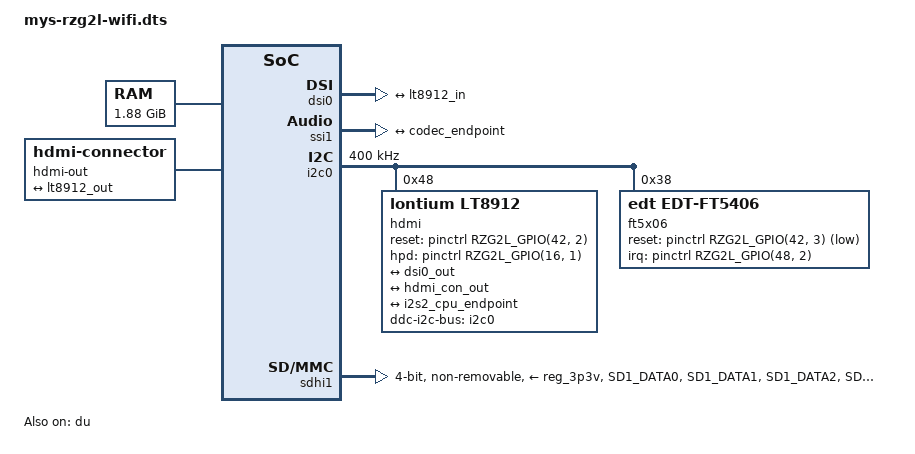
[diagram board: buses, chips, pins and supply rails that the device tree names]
// SPDX-License-Identifier: GPL-2.0
/*
 * Device Tree Source for the RZG2L Dual A55 Evaluation board
 *
 * Copyright (C) 2022 MYiR Electronics Corp.
 */

/dts-v1/;
#include "mys-rzg2l-smarc-base.dtsi"

/ {

	memory@48000000 {
		device_type = "memory";
		/* first 128MB is reserved for secure area. */
		reg = <0x0 0x48000000 0x0 0x78000000>;
	};

	reserved-memory {
		#address-cells = <2>;
		#size-cells = <2>;
		ranges;

		global_cma: linux,cma@58000000 {
			compatible = "shared-dma-pool";
			linux,cma-default;
			reusable;
			reg = <0x0 0x58000000 0x0 0x10000000>;
		};
		mmp_reserved: linux,multimedia {
			compatible = "shared-dma-pool";
			reusable;
			reg = <0x00000000 0x68000000 0x0 0x8000000>;
		};
	};

	mmngr {
		compatible = "renesas,mmngr";
		memory-region = <&mmp_reserved>;
	};

	mmngrbuf {
		compatible = "renesas,mmngrbuf";
	};

	vspm_if {
			compatible = "renesas,vspm_if";
	};

	sound_card {
			compatible = "audio-graph-card";
			//compatible = "simple-audio-card";
			dais = <&i2s2_port0>;
	};


    hdmi-out {
            compatible = "hdmi-connector";
            type = "d";

            port {
                    hdmi_con_out: endpoint {
                            remote-endpoint = <&lt8912_out>;
                    };
            };
    };
};

&pinctrl {

	sdhi1_pins: sd1 {
		sd1_data {
			pins = "SD1_DATA0", "SD1_DATA1", "SD1_DATA2", "SD1_DATA3";
			power-source  = <3300>;
		};

		sd1_ctrl {
			pins = "SD1_CLK", "SD1_CMD";
			power-source  = <3300>;
		};
		// sd1_mux {
		// 	groups = "sdhi1_cd_b";
		// 	function = "sdhi1";
		// };
	};

	sdhi1_pins_uhs: sd1_uhs {
		sd1_data_uhs {
			pins = "SD1_DATA0", "SD1_DATA1", "SD1_DATA2", "SD1_DATA3";
			power-source  = <1800>;
		};

		sd1_ctrl_uhs {
			pins = "SD1_CLK", "SD1_CMD";
			power-source  = <1800>;
		};
		// sd1_mux {
		// 	groups = "sdhi1_cd_b";
		// 	function = "sdhi1";
		// };

	};

        ssi1_pins: ssi1 {
                pinmux = <RZG2L_PORT_PINMUX(46, 0, 1)>, /* BCK */
                         <RZG2L_PORT_PINMUX(46, 1, 1)>, /* RCK */
                         <RZG2L_PORT_PINMUX(46, 2, 1)>; /* TXD */
        };

};

&ehci0 {
	memory-region = <&global_cma>;
};

&ohci0 {
	memory-region = <&global_cma>;
};

&ehci1 {
	memory-region = <&global_cma>;
};

&ohci1 {
	memory-region = <&global_cma>;
};

&du {
    status = "okay";
};

/* MIPI DSI */
&dsi0 {
	status = "okay";
	ports {
		port@1 {
			dsi0_out: endpoint {
				remote-endpoint = <&lt8912_in>;
				data-lanes = <1 2 3 4>;
			};
		};
	};
};


&ssi1 {
        pinctrl-0 = <&ssi1_pins>;
        pinctrl-names = "default";

        status = "okay";

        ports {
                i2s2_port0: port@0 {
                        i2s2_cpu_endpoint: endpoint {
                                remote-endpoint = <&codec_endpoint>;
                                dai-format = "i2s";
                        };
                };
        };
};

&i2c0 {
    clock-frequency = <400000>;
    pinctrl-names = "default";
    status = "okay";

	/* MIPI-DSI to HDMI and LVDS adapter */
	hdmi@48 {
		compatible = "lontium,lt8912";
		ddc-i2c-bus = <&i2c0>;
		dsi-lanes = <4>;
		reg = <0x48>;
		reset-gpios = <&pinctrl RZG2L_GPIO(42, 2) GPIO_ACTIVE_HIGH>;
		hpd-gpios = <&pinctrl RZG2L_GPIO(16, 1) GPIO_ACTIVE_HIGH>;
	//	interrupt-parent = <&pinctrl>;
	//	interrupts = <RZG2L_GPIO(16, 1) IRQ_TYPE_EDGE_RISING>;

	/*  LVDS output or HDMI output
		0: lvds
		1: hdmi
		2: hdmi and lvds
    */
		lvds_mode = <2>;
		bit_color = <0> ;    // 0:24bit   1:18bit
		hdmi_mode = <0>;     // 0: 1080P  1:720P
		audio_mode = <2>;     // 0:NONE   1: SPDIF 2: I2S

		display-timings {
			native-mode = <&timing0>;
			timing0:timing0{
					clock-frequency = <51200000>;

					hactive = <1024>;
					hsync-len = <20>;
					hback-porch = <162>;
					hfront-porch = <140>;
					vactive = <600>;
					vsync-len = <3>;
					vback-porch = <20>;
					vfront-porch = <12>;

					vsync-active = <0>;
					hsync-active =<0>;
					de-active =<0>;
					pixelclk-active =<0>;
			};

		};

		ports{
			#address-cells = <1>;
			#size-cells = <0>;
			port@0 {
				reg = <0>;
				lt8912_in: endpoint@0 {
					remote-endpoint = <&dsi0_out>;
				};
			};

			port@1 {
				reg = <1>;
				lt8912_out: endpoint@1 {
					remote-endpoint = <&hdmi_con_out>;
				};
			};

			port@2 {
				reg = <2>;
				codec_endpoint: endpoint {
						remote-endpoint = <&i2s2_cpu_endpoint>;
				};
             };

		};

	};


    ft5x06: ft5x06@38 {
        compatible = "edt,edt-ft5406", "edt,edt-ft5x06";
            reg = <0x38>;
            interrupt-parent = <&pinctrl>;
            interrupts = <RZG2L_GPIO(48, 2) IRQ_TYPE_EDGE_FALLING>;
            reset-gpios = <&pinctrl RZG2L_GPIO(42, 3) GPIO_ACTIVE_LOW>;
            touchscreen-size-x=<1024>;
            touchscreen-size-y=<600>;
    };
};

/*WiFi*/
&sdhi1 {
	pinctrl-0 = <&sdhi1_pins>;
	// pinctrl-1 = <&sdhi1_pins_uhs>;
	pinctrl-names = "default";
	vmmc-supply = <&reg_3p3v>;
	vqmmc-supply = <&reg_3p3v>;
	bus-width = <4>;
	disable-wp;
	no-mmc;
	no-sd;
	non-removable;
	no-1-8-v;
	// broken-cd;
	status = "okay";
};

